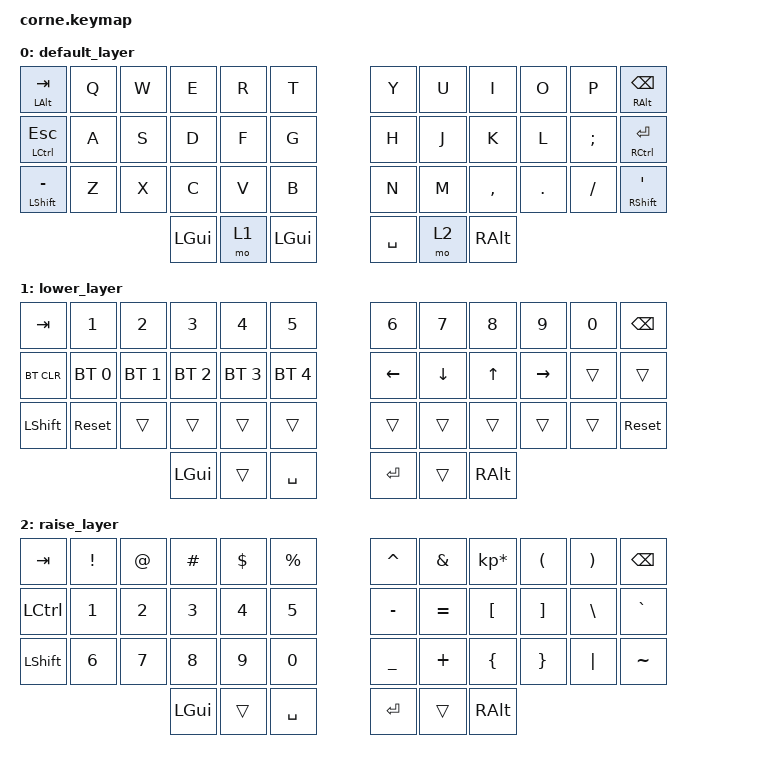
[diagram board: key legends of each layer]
/*
 * Copyright (c) 2020 The ZMK Contributors
 *
 * SPDX-License-Identifier: MIT
 */

#include <behaviors.dtsi>
#include <dt-bindings/zmk/keys.h>
#include <dt-bindings/zmk/bt.h>

/ {
        keymap {
                compatible = "zmk,keymap";

                default_layer {
// -----------------------------------------------------------------------------------------
// | SHFT(TAB)  |  Q  |  W  |  E  |  R  |  T  |   |  Y  |  U   |  I  |  O  |  P  | SHFT(BKSP)  |
// | CTRL(ESC)  |  A  |  S  |  D  |  F  |  G  |   |  H  |  J   |  K  |  L  |  ;  | RET(ESC)   |
// | ALT(MINUS) |  Z  |  X  |  C  |  V  |  B  |   |  N  |  M   |  ,  |  .  |  /  | ALT(SQT)  |
//                          | GUI | LWR | GUI |   | SPC | RSE  | ALT |
                        bindings = <
   &mt LALT TAB    &kp Q &kp W  &kp E     &kp R  &kp T      &kp Y      &kp U  &kp I     &kp O   &kp P    &mt RALT BSPC
   &mt LCTRL ESC   &kp A &kp S  &kp D     &kp F  &kp G      &kp H      &kp J  &kp K     &kp L   &kp SEMI &mt RCTRL RET
   &mt LSHFT MINUS &kp Z &kp X  &kp C     &kp V  &kp B      &kp N      &kp M  &kp COMMA &kp DOT &kp FSLH &mt RSHFT SQT
                                &kp LGUI  &mo 1  &kp LGUI   &kp SPACE  &mo 2  &kp RALT
                        >;
                };
                lower_layer {
// -----------------------------------------------------------------------------------------
// |  TAB |  1  |  2  |  3  |  4  |  5  |   |  6  |  7  |  8  |  9  |  0  | BKSP |
// | BTCLR| BT1 | BT2 | BT3 | BT4 | BT5 |   | LFT | DWN |  UP | RGT |     |      |
// | SHFT | RST |     |     |     |     |   |     |     |     |     |     | RST  |
//                    | GUI |     | SPC |   | ENT |     | ALT |
                        bindings = <
   &kp TAB    &kp N1       &kp N2       &kp N3       &kp N4       &kp N5         &kp N6   &kp N7   &kp N8 &kp N9    &kp N0 &kp BSPC
   &bt BT_CLR &bt BT_SEL 0 &bt BT_SEL 1 &bt BT_SEL 2 &bt BT_SEL 3 &bt BT_SEL 4   &kp LEFT &kp DOWN &kp UP &kp RIGHT &trans &trans
   &kp LSHFT  &sys_reset       &trans       &trans       &trans       &trans         &trans   &trans   &trans &trans    &trans &sys_reset
                          	        &kp LGUI     &trans       &kp SPACE      &kp RET  &trans   &kp RALT
                        >;
                };

                raise_layer {
// -----------------------------------------------------------------------------------------
// |  TAB |  !  |  @  |  #  |  $  |  %  |   |  ^  |  &  |  *  |  (  |  )  | BKSP |
// | CTRL |  1  |  2  |  3  |  4  |  5  |   |  -  |  =  |  [  |  ]  |  \  |  `   |
// | SHFT |  6  |  7  |  8  |  9  |  0  |   |  _  |  +  |  {  |  }  | "|" |  ~   |
//                    | GUI |     | SPC |   | ENT |     | ALT |
                        bindings = <
   &kp  TAB  &kp EXCL &kp AT &kp HASH &kp DLLR &kp PRCNT   &kp CARET &kp AMPS  &kp KP_MULTIPLY &kp LPAR &kp RPAR &kp BSPC
   &kp LCTRL &kp N1   &kp N2   &kp N3 &kp N4   &kp N5      &kp MINUS &kp EQUAL &kp LBKT        &kp RBKT &kp BSLH &kp GRAVE
   &kp LSHFT &kp N6   &kp N7   &kp N8 &kp N9   &kp N0      &kp UNDER &kp PLUS  &kp LBRC        &kp RBRC &kp PIPE &kp TILDE
                    	     &kp LGUI &trans   &kp SPACE   &kp RET   &trans    &kp RALT
                        >;
                };
        };
};
